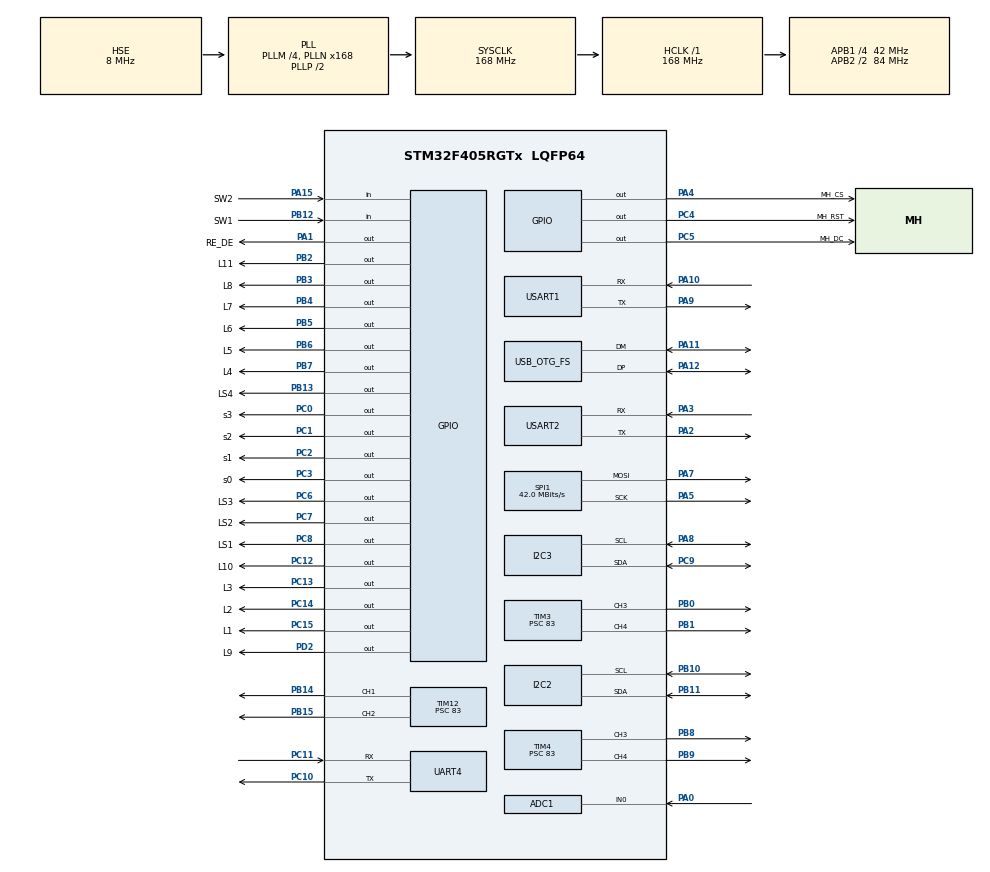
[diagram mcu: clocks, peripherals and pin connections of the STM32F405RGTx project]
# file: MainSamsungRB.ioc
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ADC1.Channel-0\#ChannelRegularConversion=ADC_CHANNEL_0
ADC1.NbrOfConversionFlag=1
ADC1.Rank-0\#ChannelRegularConversion=1
ADC1.SamplingTime-0\#ChannelRegularConversion=ADC_SAMPLETIME_84CYCLES
ADC1.master=1
Dma.ADC1.0.Direction=DMA_PERIPH_TO_MEMORY
Dma.ADC1.0.FIFOMode=DMA_FIFOMODE_DISABLE
Dma.ADC1.0.Instance=DMA2_Stream0
Dma.ADC1.0.MemDataAlignment=DMA_MDATAALIGN_HALFWORD
Dma.ADC1.0.MemInc=DMA_MINC_DISABLE
Dma.ADC1.0.Mode=DMA_NORMAL
Dma.ADC1.0.PeriphDataAlignment=DMA_PDATAALIGN_HALFWORD
Dma.ADC1.0.PeriphInc=DMA_PINC_DISABLE
Dma.ADC1.0.Priority=DMA_PRIORITY_VERY_HIGH
Dma.Request0=ADC1
Dma.Request1=UART4_RX
Dma.Request2=UART4_TX
Dma.Request3=USART2_RX
Dma.Request4=USART2_TX
Dma.UART4_RX.1.Direction=DMA_PERIPH_TO_MEMORY
Dma.UART4_RX.1.FIFOMode=DMA_FIFOMODE_DISABLE
Dma.UART4_RX.1.Instance=DMA1_Stream2
Dma.UART4_RX.1.MemDataAlignment=DMA_MDATAALIGN_BYTE
Dma.UART4_RX.1.MemInc=DMA_MINC_ENABLE
Dma.UART4_RX.1.Mode=DMA_CIRCULAR
Dma.UART4_RX.1.PeriphDataAlignment=DMA_PDATAALIGN_BYTE
Dma.UART4_RX.1.PeriphInc=DMA_PINC_DISABLE
Dma.UART4_RX.1.Priority=DMA_PRIORITY_MEDIUM
Dma.UART4_TX.2.Direction=DMA_MEMORY_TO_PERIPH
Dma.UART4_TX.2.FIFOMode=DMA_FIFOMODE_DISABLE
Dma.UART4_TX.2.Instance=DMA1_Stream4
Dma.UART4_TX.2.MemDataAlignment=DMA_MDATAALIGN_BYTE
Dma.UART4_TX.2.MemInc=DMA_MINC_ENABLE
Dma.UART4_TX.2.Mode=DMA_NORMAL
Dma.UART4_TX.2.PeriphDataAlignment=DMA_PDATAALIGN_BYTE
Dma.UART4_TX.2.PeriphInc=DMA_PINC_DISABLE
Dma.UART4_TX.2.Priority=DMA_PRIORITY_LOW
Dma.USART2_RX.3.Direction=DMA_PERIPH_TO_MEMORY
Dma.USART2_RX.3.FIFOMode=DMA_FIFOMODE_DISABLE
Dma.USART2_RX.3.Instance=DMA1_Stream5
Dma.USART2_RX.3.MemDataAlignment=DMA_MDATAALIGN_BYTE
Dma.USART2_RX.3.MemInc=DMA_MINC_ENABLE
Dma.USART2_RX.3.Mode=DMA_CIRCULAR
Dma.USART2_RX.3.PeriphDataAlignment=DMA_PDATAALIGN_BYTE
Dma.USART2_RX.3.PeriphInc=DMA_PINC_DISABLE
Dma.USART2_RX.3.Priority=DMA_PRIORITY_MEDIUM
Dma.USART2_TX.4.Direction=DMA_MEMORY_TO_PERIPH
Dma.USART2_TX.4.FIFOMode=DMA_FIFOMODE_DISABLE
Dma.USART2_TX.4.Instance=DMA1_Stream6
Dma.USART2_TX.4.MemDataAlignment=DMA_MDATAALIGN_BYTE
Dma.USART2_TX.4.MemInc=DMA_MINC_ENABLE
Dma.USART2_TX.4.Mode=DMA_NORMAL
Dma.USART2_TX.4.PeriphDataAlignment=DMA_PDATAALIGN_BYTE
Dma.USART2_TX.4.PeriphInc=DMA_PINC_DISABLE
Dma.USART2_TX.4.Priority=DMA_PRIORITY_LOW
Mcu.Family=STM32F4
Mcu.Name=STM32F405RGTx
Mcu.Package=LQFP64
NVIC.DMA2_Stream0_IRQn=true\:1\:0\:false\:false\:true\:false\:true\:true
NVIC.PriorityGroup=NVIC_PRIORITYGROUP_4
NVIC.DMA1_Stream2_IRQn=true\:3\:0\:false\:false\:true\:false\:true\:true
NVIC.DMA1_Stream4_IRQn=true\:3\:0\:false\:false\:true\:false\:true\:true
NVIC.DMA1_Stream5_IRQn=true\:1\:0\:false\:false\:true\:false\:true\:true
NVIC.DMA1_Stream6_IRQn=true\:1\:0\:false\:false\:true\:false\:true\:true
NVIC.TIM7_IRQn=true\:2\:0\:false\:false\:true\:true\:true\:true
NVIC.UART4_IRQn=true\:3\:0\:false\:false\:true\:false\:true\:true
NVIC.USART2_IRQn=true\:1\:0\:false\:false\:true\:false\:true\:true
PA0-WKUP.Signal=ADCx_IN0
PA1.GPIO_Label=RE_DE
PA1.GPIO_PuPd=GPIO_NOPULL
PA1.GPIO_Speed=GPIO_SPEED_FREQ_HIGH
PA1.PinState=GPIO_PIN_RESET
PA1.Signal=GPIO_Output
PA10.Mode=Asynchronous
PA10.Signal=USART1_RX
PA11.Mode=Device_Only
PA11.Signal=USB_OTG_FS_DM
PA12.Mode=Device_Only
PA12.Signal=USB_OTG_FS_DP
PA13.Mode=Serial_Wire
PA13.Signal=SYS_JTMS-SWDIO
PA14.Mode=Serial_Wire
PA14.Signal=SYS_JTCK-SWCLK
PA15.GPIO_Label=SW2
PA15.Signal=GPIO_Input
PA2.Mode=Asynchronous
PA2.Signal=USART2_TX
PA3.Mode=Asynchronous
PA3.Signal=USART2_RX
PA4.GPIO_Label=MH_CS
PA4.GPIO_Speed=GPIO_SPEED_FREQ_HIGH
PA4.PinState=GPIO_PIN_SET
PA4.Signal=GPIO_Output
PA5.Mode=TX_Only_Simplex_Unidirect_Master
PA5.Signal=SPI1_SCK
PA7.Mode=TX_Only_Simplex_Unidirect_Master
PA7.Signal=SPI1_MOSI
PA8.Mode=I2C
PA8.Signal=I2C3_SCL
PA9.Mode=Asynchronous
PA9.Signal=USART1_TX
PB0.Signal=S_TIM3_CH3
PB1.Signal=S_TIM3_CH4
PB10.Mode=I2C
PB10.Signal=I2C2_SCL
PB11.Mode=I2C
PB11.Signal=I2C2_SDA
PB12.GPIO_Label=SW1
PB12.Signal=GPIO_Input
PB13.GPIO_Label=LS4
PB13.PinState=GPIO_PIN_RESET
PB13.Signal=GPIO_Output
PB14.Signal=S_TIM12_CH1
PB15.Signal=S_TIM12_CH2
PB2.GPIO_Label=L11
PB2.PinState=GPIO_PIN_SET
PB2.Signal=GPIO_Output
PB3.GPIO_Label=L8
PB3.PinState=GPIO_PIN_SET
PB3.Signal=GPIO_Output
PB4.GPIO_Label=L7
PB4.PinState=GPIO_PIN_SET
PB4.Signal=GPIO_Output
PB5.GPIO_Label=L6
PB5.PinState=GPIO_PIN_SET
PB5.Signal=GPIO_Output
PB6.GPIO_Label=L5
PB6.PinState=GPIO_PIN_SET
PB6.Signal=GPIO_Output
PB7.GPIO_Label=L4
PB7.PinState=GPIO_PIN_SET
PB7.Signal=GPIO_Output
PB8.Signal=S_TIM4_CH3
PB9.Signal=S_TIM4_CH4
PC0.GPIO_Label=s3
PC0.GPIO_Speed=GPIO_SPEED_FREQ_VERY_HIGH
PC0.PinState=GPIO_PIN_RESET
PC0.Signal=GPIO_Output
PC1.GPIO_Label=s2
PC1.GPIO_Speed=GPIO_SPEED_FREQ_VERY_HIGH
PC1.PinState=GPIO_PIN_RESET
PC1.Signal=GPIO_Output
PC10.Mode=Asynchronous
PC10.Signal=UART4_TX
PC11.Mode=Asynchronous
PC11.Signal=UART4_RX
PC12.GPIO_Label=L10
PC12.PinState=GPIO_PIN_SET
PC12.Signal=GPIO_Output
PC13-ANTI_TAMP.GPIO_Label=L3
PC13-ANTI_TAMP.PinState=GPIO_PIN_SET
PC13-ANTI_TAMP.Signal=GPIO_Output
PC14-OSC32_IN.GPIO_Label=L2
PC14-OSC32_IN.PinState=GPIO_PIN_SET
PC14-OSC32_IN.Signal=GPIO_Output
PC15-OSC32_OUT.GPIO_Label=L1
PC15-OSC32_OUT.PinState=GPIO_PIN_SET
PC15-OSC32_OUT.Signal=GPIO_Output
PC2.GPIO_Label=s1
PC2.GPIO_Speed=GPIO_SPEED_FREQ_VERY_HIGH
PC2.PinState=GPIO_PIN_RESET
PC2.Signal=GPIO_Output
PC3.GPIO_Label=s0
PC3.GPIO_Speed=GPIO_SPEED_FREQ_VERY_HIGH
PC3.PinState=GPIO_PIN_RESET
PC3.Signal=GPIO_Output
PC4.GPIO_Label=MH_RST
PC4.GPIO_Speed=GPIO_SPEED_FREQ_LOW
PC4.PinState=GPIO_PIN_SET
PC4.Signal=GPIO_Output
PC5.GPIO_Label=MH_DC
PC5.GPIO_Speed=GPIO_SPEED_FREQ_HIGH
PC5.PinState=GPIO_PIN_RESET
PC5.Signal=GPIO_Output
PC6.GPIO_Label=LS3
PC6.PinState=GPIO_PIN_RESET
PC6.Signal=GPIO_Output
PC7.GPIO_Label=LS2
PC7.PinState=GPIO_PIN_RESET
PC7.Signal=GPIO_Output
PC8.GPIO_Label=LS1
PC8.PinState=GPIO_PIN_RESET
PC8.Signal=GPIO_Output
PC9.Mode=I2C
PC9.Signal=I2C3_SDA
PD2.GPIO_Label=L9
PD2.PinState=GPIO_PIN_SET
PD2.Signal=GPIO_Output
PH0-OSC_IN.Mode=HSE-External-Oscillator
PH0-OSC_IN.Signal=RCC_OSC_IN
PH1-OSC_OUT.Mode=HSE-External-Oscillator
PH1-OSC_OUT.Signal=RCC_OSC_OUT
ProjectManager.HeapSize=0x200
ProjectManager.StackSize=0x400
ProjectManager.TargetToolchain=STM32CubeIDE
RCC.48MHZClocksFreq_Value=48000000
RCC.AHBFreq_Value=168000000
RCC.APB1CLKDivider=RCC_HCLK_DIV4
RCC.APB1Freq_Value=42000000
RCC.APB1TimFreq_Value=84000000
RCC.APB2CLKDivider=RCC_HCLK_DIV2
RCC.APB2Freq_Value=84000000
RCC.APB2TimFreq_Value=168000000
RCC.CortexFreq_Value=168000000
RCC.HCLKFreq_Value=168000000
RCC.HSE_VALUE=8000000
RCC.HSI_VALUE=16000000
RCC.LSE_VALUE=32768
RCC.PLLM=4
RCC.PLLN=168
RCC.PLLQ=7
RCC.SYSCLKFreq_VALUE=168000000
RCC.SYSCLKSource=RCC_SYSCLKSOURCE_PLLCLK
RCC.VCOOutputFreq_Value=336000000
SH.ADCx_IN0.0=ADC1_IN0,IN0
SH.S_TIM12_CH1.0=TIM12_CH1,PWM Generation1 CH1
SH.S_TIM12_CH2.0=TIM12_CH2,PWM Generation2 CH2
SH.S_TIM3_CH3.0=TIM3_CH3,PWM Generation3 CH3
SH.S_TIM3_CH4.0=TIM3_CH4,PWM Generation4 CH4
SH.S_TIM4_CH3.0=TIM4_CH3,PWM Generation3 CH3
SH.S_TIM4_CH4.0=TIM4_CH4,PWM Generation4 CH4
SPI1.CalculateBaudRate=42.0 MBits/s
SPI1.Direction=SPI_DIRECTION_2LINES
SPI1.Mode=SPI_MODE_MASTER
SPI1.VirtualType=VM_MASTER
TIM12.Channel-PWM\ Generation1\ CH1=TIM_CHANNEL_1
TIM12.Channel-PWM\ Generation2\ CH2=TIM_CHANNEL_2
TIM12.AutoReloadPreload=TIM_AUTORELOAD_PRELOAD_ENABLE
TIM12.Period=19999
TIM12.Prescaler=83
TIM3.Channel-PWM\ Generation3\ CH3=TIM_CHANNEL_3
TIM3.Channel-PWM\ Generation4\ CH4=TIM_CHANNEL_4
TIM3.AutoReloadPreload=TIM_AUTORELOAD_PRELOAD_ENABLE
TIM3.Period=19999
TIM3.Prescaler=83
TIM4.Channel-PWM\ Generation3\ CH3=TIM_CHANNEL_3
TIM4.Channel-PWM\ Generation4\ CH4=TIM_CHANNEL_4
TIM4.AutoReloadPreload=TIM_AUTORELOAD_PRELOAD_ENABLE
TIM4.Period=19999
TIM4.Prescaler=83
TIM7.Period=99
TIM7.Prescaler=83
UART4.VirtualMode=Asynchronous
USART1.VirtualMode=VM_ASYNC
USART2.VirtualMode=VM_ASYNC
USB_OTG_FS.VirtualMode=Device_Only
VP_TIM7_VS_ClockSourceINT.Mode=Enable_Timer
board=custom

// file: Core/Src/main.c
/* USER CODE BEGIN Header */
/**
  ******************************************************************************
  * @file           : main.c
  * @brief          : Main program body
  ******************************************************************************
  * @attention
  *
  * Copyright (c) 2026 STMicroelectronics.
  * All rights reserved.
  *
  * This software is licensed under terms that can be found in the LICENSE file
  * in the root directory of this software component.
  * If no LICENSE file comes with this software, it is provided AS-IS.
  *
  ******************************************************************************
  */
/* USER CODE END Header */
#include "main.h"

/* USER CODE BEGIN Includes */
#include "cd4067.h"
#include "bno055.h"
#include "bno055_stm32.h"
#include "servo.h"
#include "buttons.h"
#include "rf_hc12.h"
#include "rs485_bus.h"
#include "drive_kinematics.h"
/* USER CODE END Includes */

/* USER CODE BEGIN PD */
#define RS485_TX_PERIOD_MS      10U
#define RS485_WHEEL_TIMEOUT_MS  250U
/* USER CODE END PD */

ADC_HandleTypeDef hadc1;
DMA_HandleTypeDef hdma_adc1;

I2C_HandleTypeDef hi2c2;
I2C_HandleTypeDef hi2c3;

SPI_HandleTypeDef hspi1;

TIM_HandleTypeDef htim3;
TIM_HandleTypeDef htim4;
TIM_HandleTypeDef htim7;
TIM_HandleTypeDef htim12;

UART_HandleTypeDef huart4;
UART_HandleTypeDef huart1;
UART_HandleTypeDef huart2;
DMA_HandleTypeDef hdma_uart4_rx;
DMA_HandleTypeDef hdma_uart4_tx;
DMA_HandleTypeDef hdma_usart2_rx;
DMA_HandleTypeDef hdma_usart2_tx;

PCD_HandleTypeDef hpcd_USB_OTG_FS;

/* USER CODE BEGIN PV */
BNO055_IMU_t g_imu = {0};
RF_HC12_t g_rf = {0};
RF_PayloadTdk_t g_tdk_cmd = {0};
bool g_tdk_link_ok = false;
RS485_Bus_t g_rs485 = {0};
RS485_Telem_t g_wheel_telem[DRIVE_OMNI_WHEEL_COUNT] = {0};
bool g_wheel_alive[DRIVE_OMNI_WHEEL_COUNT] = {false};
static uint32_t g_wheel_rx_ms[DRIVE_OMNI_WHEEL_COUNT] = {0};
static bool g_wheel_seen[DRIVE_OMNI_WHEEL_COUNT] = {false};
static uint8_t g_rs485_poll_idx = 0U;
static uint32_t g_last_rs485_tx_ms = 0U;
static Drive_OmniState_t g_omni_state = {0};
static bool g_field_centric = false;
static float g_yaw_offset_deg = 0.0f;
static uint8_t g_prev_start_btn = 0U;
static uint8_t g_prev_select_btn = 0U;
static bool g_estop_latched = false;
static bool g_clear_faults_pending = false;
static uint32_t g_last_imu_tick_ms = 0U;
static uint32_t g_last_auto_tx_ms = 0U;
/* USER CODE END PV */

void SystemClock_Config(void);
static void MX_GPIO_Init(void);
static void MX_DMA_Init(void);
static void MX_ADC1_Init(void);
static void MX_I2C2_Init(void);
static void MX_I2C3_Init(void);
static void MX_SPI1_Init(void);
static void MX_USART1_UART_Init(void);
static void MX_USART2_UART_Init(void);
static void MX_UART4_Init(void);
static void MX_USB_OTG_FS_PCD_Init(void);
static void MX_TIM3_Init(void);
static void MX_TIM12_Init(void);
static void MX_TIM4_Init(void);
static void MX_TIM7_Init(void);
/* USER CODE BEGIN PFP */
static void main_on_rs485_rx(RS485_Bus_t *bus, const RS485_Frame_t *frame, void *ctx);
/* USER CODE END PFP */

/* USER CODE BEGIN 0 */
static void main_on_rs485_rx(RS485_Bus_t *bus, const RS485_Frame_t *frame, void *ctx)
{
  (void)ctx;
  if ((bus == NULL) || (frame == NULL))
  {
    return;
  }

  if (frame->msg_type == (uint8_t)RS485_MSG_TELEM)
  {
    RS485_Telem_t telem;
    if (RS485_DecodeTelem(frame, &telem) &&
        (telem.node_id >= RS485_ADDR_SLAVE_MIN) &&
        (telem.node_id <= DRIVE_OMNI_WHEEL_COUNT))
    {
      uint8_t idx = (uint8_t)(telem.node_id - 1U);
      g_wheel_telem[idx] = telem;
      g_wheel_rx_ms[idx] = bus->last_rx_tick_ms;
      g_wheel_seen[idx] = true;
    }
  }
}

void MainSamsungRB_SetEstop(bool estop)
{
  g_estop_latched = estop;
  if (estop)
  {
    Drive_OmniReset(&g_omni_state);
    Servo_StopAll360();
  }
}

void MainSamsungRB_ClearWheelFaults(void)
{
  g_estop_latched = false;
  g_clear_faults_pending = true;
}
/* USER CODE END 0 */

int main(void)
{

  /* MCU Configuration--------------------------------------------------------*/

  /* Reset of all peripherals, Initializes the Flash interface and the Systick. */
  HAL_Init();

  /* Configure the system clock */
  SystemClock_Config();

  /* Initialize all configured peripherals */
  MX_GPIO_Init();
  MX_DMA_Init();
  MX_ADC1_Init();
  MX_I2C2_Init();
  MX_I2C3_Init();
  MX_SPI1_Init();
  MX_USART1_UART_Init();
  MX_USART2_UART_Init();
  MX_UART4_Init();
  MX_USB_OTG_FS_PCD_Init();
  MX_TIM3_Init();
  MX_TIM12_Init();
  MX_TIM4_Init();
  MX_TIM7_Init();
  /* USER CODE BEGIN 2 */
  /* Half-duplex RS-485 Master on USART2 + PA1 RE/DE for 4 omni PidBoards (IDs 1..4) */
  RS485_Init(&g_rs485, &huart2, RE_DE_GPIO_Port, RE_DE_Pin, RS485_ADDR_MASTER);
  RS485_SetRxCallback(&g_rs485, main_on_rs485_rx, NULL);
  if (RS485_StartRx(&g_rs485) != HAL_OK)
  {
    Error_Handler();
  }
  Drive_OmniReset(&g_omni_state);

  /* Scan all 16 limit switch channels on CD4067 (I0..I15) with Schmitt + 8 ms debounce */
  CD4067_Init(&hadc1, &htim7);
  if (CD4067_StartLimitSwitches(0xFFFFU) != HAL_OK)
  {
    Error_Handler();
  }

  /* Onboard switches SW1 (PB12) & SW2 (PA15): external +5V/+3V3 FT-safe inputs */
  Buttons_Init(true, true);

  /* Dual-mode servo driver across 6 PWM channels (CH1..3 = 0-270 deg, CH4..6 = 360 continuous) */
  if (Servo_Init(&htim3, &htim4, &htim12) != HAL_OK)
  {
    Error_Handler();
  }
  (void)Servo_Config270(SERVO_CH_1, SERVO_PWM_MIN_US, SERVO_PWM_MAX_US, false);
  (void)Servo_Config270(SERVO_CH_2, SERVO_PWM_MIN_US, SERVO_PWM_MAX_US, false);
  (void)Servo_Config270(SERVO_CH_3, SERVO_PWM_MIN_US, SERVO_PWM_MAX_US, false);
  (void)Servo_Config360(SERVO_CH_4, SERVO_PWM_NEUTRAL_US, SERVO_360_DEFAULT_HALF_SPAN_US,
                        SERVO_DEFAULT_DEADBAND_PCT, false);
  (void)Servo_Config360(SERVO_CH_5, SERVO_PWM_NEUTRAL_US, SERVO_360_DEFAULT_HALF_SPAN_US,
                        SERVO_DEFAULT_DEADBAND_PCT, false);
  (void)Servo_Config360(SERVO_CH_6, SERVO_PWM_NEUTRAL_US, SERVO_360_DEFAULT_HALF_SPAN_US,
                        SERVO_DEFAULT_DEADBAND_PCT, false);

  /* HC-12 RF link (Manual Robot = RF_NODE_MANUAL, accepts ONLY RF_NODE_TDK, relays to RF_NODE_AUTO) */
  RF_HC12_Init(&g_rf, &huart4, NULL, 0U, RF_NODE_MANUAL, RF_SRC_MASK(RF_NODE_TDK));
  (void)RF_HC12_SetupRoutine(&g_rf, RF_HC12_DEFAULT_CHANNEL, RF_HC12_DEFAULT_BAUD);
  if (RF_HC12_StartRx(&g_rf) != HAL_OK)
  {
    Error_Handler();
  }

  /* Wait for BNO055 POR (up to 750 ms) and start NDOF fusion on I2C3 (PA8/PC9) */
  BNO055_IMU_Init(&g_imu, &hi2c3);
  g_last_imu_tick_ms = HAL_GetTick();
  g_last_auto_tx_ms = g_last_imu_tick_ms;
  g_last_rs485_tx_ms = g_last_imu_tick_ms;
  /* USER CODE END 2 */

  /* Infinite loop */
  while (1)
  {

    /* USER CODE BEGIN 3 */
    uint32_t now_ms = HAL_GetTick();
    RF_Frame_t rx_frame;
    bool forward_now = false;

    /* 1. Drain UART4 circular DMA RX & enforce strict RF_NODE_TDK source filter */
    RF_HC12_ProcessRx(&g_rf, now_ms);
    if (RF_HC12_PopLatestFrame(&g_rf, &rx_frame))
    {
      if (RF_HC12_DecodeTdkCmd(&rx_frame, &g_tdk_cmd))
      {
        forward_now = true; /* Reply inside post-tdk ~15 ms quiet slot before tdk's next frame */
      }
    }

    g_tdk_link_ok = RF_HC12_IsLinkAlive(&g_rf, now_ms, RF_HC12_DEFAULT_TIMEOUT_MS);
    bool ps2_valid = g_tdk_link_ok && ((g_tdk_cmd.ext_sw & RF_TDK_PS2_VALID_BIT) != 0U);
    if (!g_tdk_link_ok)
    {
      Servo_StopAll360();
    }

    /* 2. Drain USART2 RS-485 DMA RX telemetry & run TX watchdog / wheel liveness */
    RS485_ProcessRx(&g_rs485, now_ms);
    RS485_TickMs(&g_rs485, now_ms);
    for (uint8_t i = 0U; i < DRIVE_OMNI_WHEEL_COUNT; i++)
    {
      g_wheel_alive[i] = g_wheel_seen[i] &&
                         ((uint32_t)(now_ms - g_wheel_rx_ms[i]) <= RS485_WHEEL_TIMEOUT_MS);
    }

    /* 3. Read debounced SW1 / SW2 and mirror limit switch mask onto L1..L11 */
    Buttons_Update(now_ms);
    if (Buttons_ConsumePressed(BTN_SW1))
    {
      BNO055_IMU_ZeroYaw(&g_imu);
      g_yaw_offset_deg = 0.0f;
      MainSamsungRB_ClearWheelFaults();
    }
    if (Buttons_ConsumePressed(BTN_SW2))
    {
      (void)CD4067_CycleLedViewMode();
    }
    CD4067_UpdateLeds(now_ms);

    /* PS2 Start toggles field-centric mode (when BNO055 online); Select clears PidBoard faults */
    if (ps2_valid)
    {
      uint8_t start_now  = ((g_tdk_cmd.ps2_btn[0] & 0x08U) != 0U) ? 1U : 0U;
      uint8_t select_now = ((g_tdk_cmd.ps2_btn[0] & 0x01U) != 0U) ? 1U : 0U;
      if ((start_now != 0U) && (g_prev_start_btn == 0U) && g_imu.connected)
      {
        g_field_centric = !g_field_centric;
        g_yaw_offset_deg = g_imu.yaw;
      }
      if ((select_now != 0U) && (g_prev_select_btn == 0U))
      {
        MainSamsungRB_ClearWheelFaults();
      }
      g_prev_start_btn  = start_now;
      g_prev_select_btn = select_now;
    }
    else
    {
      g_prev_start_btn  = 0U;
      g_prev_select_btn = 0U;
    }

    /* 4. 100 Hz (10 ms) 4-wheel omni kinematics & RS-485 TDMA command/poll broadcast */
    if ((uint32_t)(now_ms - g_last_rs485_tx_ms) >= RS485_TX_PERIOD_MS)
    {
      g_last_rs485_tx_ms = now_ms;

      Drive_Ps2Input_t ps2_in = {0};
      ps2_in.joy_sum[0] = g_tdk_cmd.joy_sum[0];
      ps2_in.joy_sum[1] = g_tdk_cmd.joy_sum[1];
      ps2_in.ps2_btn[0] = g_tdk_cmd.ps2_btn[0];
      ps2_in.ps2_btn[1] = g_tdk_cmd.ps2_btn[1];
      ps2_in.valid      = ps2_valid;

      uint8_t modes[DRIVE_OMNI_WHEEL_COUNT] = {0};
      int16_t targets[DRIVE_OMNI_WHEEL_COUNT] = {0};
      float yaw_rel = g_imu.connected ? (g_imu.yaw - g_yaw_offset_deg) : 0.0f;

      Drive_OmniComputeFromPs2(&g_omni_state,
                               &ps2_in,
                               g_estop_latched,
                               yaw_rel,
                               g_field_centric && g_imu.connected,
                               DRIVE_DEFAULT_MAX_RPMX10,
                               modes,
                               targets);

      RS485_MultiCmd_t mcmd = {0};
      mcmd.num_wheels = DRIVE_OMNI_WHEEL_COUNT;
      mcmd.poll_id    = (uint8_t)(g_rs485_poll_idx + 1U);
      g_rs485_poll_idx = (uint8_t)((g_rs485_poll_idx + 1U) % DRIVE_OMNI_WHEEL_COUNT);
      mcmd.flags      = (g_estop_latched ? RS485_CMD_FLAG_ESTOP : 0U) |
                        (g_clear_faults_pending ? RS485_CMD_FLAG_CLEAR_FAULTS : 0U);
      for (uint8_t i = 0U; i < DRIVE_OMNI_WHEEL_COUNT; i++)
      {
        mcmd.wheels[i].mode   = modes[i];
        mcmd.wheels[i].target = targets[i];
      }

      if (RS485_SendMultiCmd(&g_rs485, &mcmd, now_ms) == HAL_OK)
      {
        g_clear_faults_pending = false;
      }
    }

    /* 5. Forward state & limits to Autonomous Robot (MainRB2 = RF_NODE_AUTO) */
    if (forward_now || (!g_tdk_link_ok && ((uint32_t)(now_ms - g_last_auto_tx_ms) >= 50U)))
    {
      g_last_auto_tx_ms = now_ms;
      RF_PayloadManualToAuto_t auto_msg = {0};
      auto_msg.cmd        = g_tdk_cmd.ext_sw;
      auto_msg.mode       = (uint8_t)CD4067_GetLedViewMode();
      auto_msg.flags      = (g_tdk_link_ok ? RF_MANUAL_FLAG_TDK_LINK : 0U) |
                            (Buttons_IsPressed(BTN_SW1) ? RF_MANUAL_FLAG_SW1 : 0U) |
                            (Buttons_IsPressed(BTN_SW2) ? RF_MANUAL_FLAG_SW2 : 0U);
      auto_msg.reserved   = 0U;
      auto_msg.limit_mask = CD4067_GetLimitMask();
      auto_msg.arg0       = (int16_t)g_tdk_cmd.joy_left[0];
      auto_msg.arg1       = (int16_t)g_tdk_cmd.joy_left[1];
      auto_msg.arg2       = (int16_t)(((uint16_t)g_tdk_cmd.ps2_btn[1] << 8U) | g_tdk_cmd.ps2_btn[0]);
      auto_msg.arg3       = (int16_t)(g_imu.yaw * 10.0f);
      (void)RF_HC12_SendManualToAuto(&g_rf, RF_NODE_AUTO, &auto_msg);
    }

    /* 6. Poll BNO055 at 100 Hz (10 ms) */
    if ((uint32_t)(now_ms - g_last_imu_tick_ms) >= 10U)
    {
      g_last_imu_tick_ms = now_ms;
      if (g_imu.connected)
      {
        BNO055_IMU_Update(&g_imu);
      }
    }
  }
  /* USER CODE END 3 */
}

void SystemClock_Config(void)
{
  RCC_OscInitTypeDef RCC_OscInitStruct = {0};
  RCC_ClkInitTypeDef RCC_ClkInitStruct = {0};

  /** Configure the main internal regulator output voltage
  */
  __HAL_RCC_PWR_CLK_ENABLE();
  __HAL_PWR_VOLTAGESCALING_CONFIG(PWR_REGULATOR_VOLTAGE_SCALE1);

  /** Initializes the RCC Oscillators according to the specified parameters
  * in the RCC_OscInitTypeDef structure.
  */
  RCC_OscInitStruct.OscillatorType = RCC_OSCILLATORTYPE_HSE;
  RCC_OscInitStruct.HSEState = RCC_HSE_ON;
  RCC_OscInitStruct.PLL.PLLState = RCC_PLL_ON;
  RCC_OscInitStruct.PLL.PLLSource = RCC_PLLSOURCE_HSE;
  RCC_OscInitStruct.PLL.PLLM = 4;
  RCC_OscInitStruct.PLL.PLLN = 168;
  RCC_OscInitStruct.PLL.PLLP = RCC_PLLP_DIV2;
  RCC_OscInitStruct.PLL.PLLQ = 7;
  if (HAL_RCC_OscConfig(&RCC_OscInitStruct) != HAL_OK)
  {
    Error_Handler();
  }

  /** Initializes the CPU, AHB and APB buses clocks
  */
  RCC_ClkInitStruct.ClockType = RCC_CLOCKTYPE_HCLK|RCC_CLOCKTYPE_SYSCLK
                              |RCC_CLOCKTYPE_PCLK1|RCC_CLOCKTYPE_PCLK2;
  RCC_ClkInitStruct.SYSCLKSource = RCC_SYSCLKSOURCE_PLLCLK;
  RCC_ClkInitStruct.AHBCLKDivider = RCC_SYSCLK_DIV1;
  RCC_ClkInitStruct.APB1CLKDivider = RCC_HCLK_DIV4;
  RCC_ClkInitStruct.APB2CLKDivider = RCC_HCLK_DIV2;

  if (HAL_RCC_ClockConfig(&RCC_ClkInitStruct, FLASH_LATENCY_5) != HAL_OK)
  {
    Error_Handler();
  }
}

static void MX_ADC1_Init(void)
{

  ADC_ChannelConfTypeDef sConfig = {0};

  /** Configure the global features of the ADC (Clock, Resolution, Data Alignment and number of conversion)
  */
  hadc1.Instance = ADC1;
  hadc1.Init.ClockPrescaler = ADC_CLOCK_SYNC_PCLK_DIV4;
  hadc1.Init.Resolution = ADC_RESOLUTION_12B;
  hadc1.Init.ScanConvMode = DISABLE;
  hadc1.Init.ContinuousConvMode = DISABLE;
  hadc1.Init.DiscontinuousConvMode = DISABLE;
  hadc1.Init.ExternalTrigConvEdge = ADC_EXTERNALTRIGCONVEDGE_NONE;
  hadc1.Init.ExternalTrigConv = ADC_SOFTWARE_START;
  hadc1.Init.DataAlign = ADC_DATAALIGN_RIGHT;
  hadc1.Init.NbrOfConversion = 1;
  hadc1.Init.DMAContinuousRequests = DISABLE;
  hadc1.Init.EOCSelection = ADC_EOC_SINGLE_CONV;
  if (HAL_ADC_Init(&hadc1) != HAL_OK)
  {
    Error_Handler();
  }

  /** Configure for the selected ADC regular channel its corresponding rank in the sequencer and its sample time.
  */
  sConfig.Channel = ADC_CHANNEL_0;
  sConfig.Rank = 1;
  sConfig.SamplingTime = ADC_SAMPLETIME_84CYCLES;
  if (HAL_ADC_ConfigChannel(&hadc1, &sConfig) != HAL_OK)
  {
    Error_Handler();
  }

}

static void MX_I2C2_Init(void)
{

  hi2c2.Instance = I2C2;
  hi2c2.Init.ClockSpeed = 100000;
  hi2c2.Init.DutyCycle = I2C_DUTYCYCLE_2;
  hi2c2.Init.OwnAddress1 = 0;
  hi2c2.Init.AddressingMode = I2C_ADDRESSINGMODE_7BIT;
  hi2c2.Init.DualAddressMode = I2C_DUALADDRESS_DISABLE;
  hi2c2.Init.OwnAddress2 = 0;
  hi2c2.Init.GeneralCallMode = I2C_GENERALCALL_DISABLE;
  hi2c2.Init.NoStretchMode = I2C_NOSTRETCH_DISABLE;
  if (HAL_I2C_Init(&hi2c2) != HAL_OK)
  {
    Error_Handler();
  }

}

static void MX_I2C3_Init(void)
{

  hi2c3.Instance = I2C3;
  hi2c3.Init.ClockSpeed = 100000;
  hi2c3.Init.DutyCycle = I2C_DUTYCYCLE_2;
  hi2c3.Init.OwnAddress1 = 0;
  hi2c3.Init.AddressingMode = I2C_ADDRESSINGMODE_7BIT;
  hi2c3.Init.DualAddressMode = I2C_DUALADDRESS_DISABLE;
  hi2c3.Init.OwnAddress2 = 0;
  hi2c3.Init.GeneralCallMode = I2C_GENERALCALL_DISABLE;
  hi2c3.Init.NoStretchMode = I2C_NOSTRETCH_DISABLE;
  if (HAL_I2C_Init(&hi2c3) != HAL_OK)
  {
    Error_Handler();
  }

}

static void MX_SPI1_Init(void)
{

  /* SPI1 parameter configuration*/
  hspi1.Instance = SPI1;
  hspi1.Init.Mode = SPI_MODE_MASTER;
  hspi1.Init.Direction = SPI_DIRECTION_2LINES;
  hspi1.Init.DataSize = SPI_DATASIZE_8BIT;
  hspi1.Init.CLKPolarity = SPI_POLARITY_LOW;
  hspi1.Init.CLKPhase = SPI_PHASE_1EDGE;
  hspi1.Init.NSS = SPI_NSS_SOFT;
  hspi1.Init.BaudRatePrescaler = SPI_BAUDRATEPRESCALER_2;
  hspi1.Init.FirstBit = SPI_FIRSTBIT_MSB;
  hspi1.Init.TIMode = SPI_TIMODE_DISABLE;
  hspi1.Init.CRCCalculation = SPI_CRCCALCULATION_DISABLE;
  hspi1.Init.CRCPolynomial = 10;
  if (HAL_SPI_Init(&hspi1) != HAL_OK)
  {
    Error_Handler();
  }

}

static void MX_TIM3_Init(void)
{

  TIM_MasterConfigTypeDef sMasterConfig = {0};
  TIM_OC_InitTypeDef sConfigOC = {0};

  htim3.Instance = TIM3;
  htim3.Init.Prescaler = 83;
  htim3.Init.CounterMode = TIM_COUNTERMODE_UP;
  htim3.Init.Period = 19999;
  htim3.Init.ClockDivision = TIM_CLOCKDIVISION_DIV1;
  htim3.Init.AutoReloadPreload = TIM_AUTORELOAD_PRELOAD_ENABLE;
  if (HAL_TIM_PWM_Init(&htim3) != HAL_OK)
  {
    Error_Handler();
  }
  sMasterConfig.MasterOutputTrigger = TIM_TRGO_RESET;
  sMasterConfig.MasterSlaveMode = TIM_MASTERSLAVEMODE_DISABLE;
  if (HAL_TIMEx_MasterConfigSynchronization(&htim3, &sMasterConfig) != HAL_OK)
  {
    Error_Handler();
  }
  sConfigOC.OCMode = TIM_OCMODE_PWM1;
  sConfigOC.Pulse = 0;
  sConfigOC.OCPolarity = TIM_OCPOLARITY_HIGH;
  sConfigOC.OCFastMode = TIM_OCFAST_DISABLE;
  if (HAL_TIM_PWM_ConfigChannel(&htim3, &sConfigOC, TIM_CHANNEL_3) != HAL_OK)
  {
    Error_Handler();
  }
  if (HAL_TIM_PWM_ConfigChannel(&htim3, &sConfigOC, TIM_CHANNEL_4) != HAL_OK)
  {
    Error_Handler();
  }
  HAL_TIM_MspPostInit(&htim3);

}

static void MX_TIM4_Init(void)
{

  TIM_MasterConfigTypeDef sMasterConfig = {0};
  TIM_OC_InitTypeDef sConfigOC = {0};

  htim4.Instance = TIM4;
  htim4.Init.Prescaler = 83;
  htim4.Init.CounterMode = TIM_COUNTERMODE_UP;
  htim4.Init.Period = 19999;
  htim4.Init.ClockDivision = TIM_CLOCKDIVISION_DIV1;
  htim4.Init.AutoReloadPreload = TIM_AUTORELOAD_PRELOAD_ENABLE;
  if (HAL_TIM_PWM_Init(&htim4) != HAL_OK)
  {
    Error_Handler();
  }
  sMasterConfig.MasterOutputTrigger = TIM_TRGO_RESET;
  sMasterConfig.MasterSlaveMode = TIM_MASTERSLAVEMODE_DISABLE;
  if (HAL_TIMEx_MasterConfigSynchronization(&htim4, &sMasterConfig) != HAL_OK)
  {
    Error_Handler();
  }
  sConfigOC.OCMode = TIM_OCMODE_PWM1;
  sConfigOC.Pulse = 0;
  sConfigOC.OCPolarity = TIM_OCPOLARITY_HIGH;
  sConfigOC.OCFastMode = TIM_OCFAST_DISABLE;
  if (HAL_TIM_PWM_ConfigChannel(&htim4, &sConfigOC, TIM_CHANNEL_3) != HAL_OK)
  {
    Error_Handler();
  }
  if (HAL_TIM_PWM_ConfigChannel(&htim4, &sConfigOC, TIM_CHANNEL_4) != HAL_OK)
  {
    Error_Handler();
  }
  HAL_TIM_MspPostInit(&htim4);

}

static void MX_TIM7_Init(void)
{

  TIM_MasterConfigTypeDef sMasterConfig = {0};

  htim7.Instance = TIM7;
  htim7.Init.Prescaler = 83;
  htim7.Init.CounterMode = TIM_COUNTERMODE_UP;
  htim7.Init.Period = 99;
  htim7.Init.AutoReloadPreload = TIM_AUTORELOAD_PRELOAD_DISABLE;
  if (HAL_TIM_Base_Init(&htim7) != HAL_OK)
  {
    Error_Handler();
  }
  sMasterConfig.MasterOutputTrigger = TIM_TRGO_RESET;
  sMasterConfig.MasterSlaveMode = TIM_MASTERSLAVEMODE_DISABLE;
  if (HAL_TIMEx_MasterConfigSynchronization(&htim7, &sMasterConfig) != HAL_OK)
  {
    Error_Handler();
  }

}

static void MX_TIM12_Init(void)
{

  TIM_OC_InitTypeDef sConfigOC = {0};

  htim12.Instance = TIM12;
  htim12.Init.Prescaler = 83;
  htim12.Init.CounterMode = TIM_COUNTERMODE_UP;
  htim12.Init.Period = 19999;
  htim12.Init.ClockDivision = TIM_CLOCKDIVISION_DIV1;
  htim12.Init.AutoReloadPreload = TIM_AUTORELOAD_PRELOAD_ENABLE;
  if (HAL_TIM_PWM_Init(&htim12) != HAL_OK)
  {
    Error_Handler();
  }
  sConfigOC.OCMode = TIM_OCMODE_PWM1;
  sConfigOC.Pulse = 0;
  sConfigOC.OCPolarity = TIM_OCPOLARITY_HIGH;
  sConfigOC.OCFastMode = TIM_OCFAST_DISABLE;
  if (HAL_TIM_PWM_ConfigChannel(&htim12, &sConfigOC, TIM_CHANNEL_1) != HAL_OK)
  {
    Error_Handler();
  }
  if (HAL_TIM_PWM_ConfigChannel(&htim12, &sConfigOC, TIM_CHANNEL_2) != HAL_OK)
  {
    Error_Handler();
  }
  HAL_TIM_MspPostInit(&htim12);

}

static void MX_UART4_Init(void)
{

  huart4.Instance = UART4;
  huart4.Init.BaudRate = 115200;
  huart4.Init.WordLength = UART_WORDLENGTH_8B;
  huart4.Init.StopBits = UART_STOPBITS_1;
  huart4.Init.Parity = UART_PARITY_NONE;
  huart4.Init.Mode = UART_MODE_TX_RX;
  huart4.Init.HwFlowCtl = UART_HWCONTROL_NONE;
  huart4.Init.OverSampling = UART_OVERSAMPLING_16;
  if (HAL_UART_Init(&huart4) != HAL_OK)
  {
    Error_Handler();
  }

}

static void MX_USART1_UART_Init(void)
{

  huart1.Instance = USART1;
  huart1.Init.BaudRate = 115200;
  huart1.Init.WordLength = UART_WORDLENGTH_8B;
  huart1.Init.StopBits = UART_STOPBITS_1;
  huart1.Init.Parity = UART_PARITY_NONE;
  huart1.Init.Mode = UART_MODE_TX_RX;
  huart1.Init.HwFlowCtl = UART_HWCONTROL_NONE;
  huart1.Init.OverSampling = UART_OVERSAMPLING_16;
  if (HAL_UART_Init(&huart1) != HAL_OK)
  {
    Error_Handler();
  }

}

static void MX_USART2_UART_Init(void)
{

  huart2.Instance = USART2;
  huart2.Init.BaudRate = 115200;
  huart2.Init.WordLength = UART_WORDLENGTH_8B;
  huart2.Init.StopBits = UART_STOPBITS_1;
  huart2.Init.Parity = UART_PARITY_NONE;
  huart2.Init.Mode = UART_MODE_TX_RX;
  huart2.Init.HwFlowCtl = UART_HWCONTROL_NONE;
  huart2.Init.OverSampling = UART_OVERSAMPLING_16;
  if (HAL_UART_Init(&huart2) != HAL_OK)
  {
    Error_Handler();
  }

}

static void MX_USB_OTG_FS_PCD_Init(void)
{

  hpcd_USB_OTG_FS.Instance = USB_OTG_FS;
  hpcd_USB_OTG_FS.Init.dev_endpoints = 4;
  hpcd_USB_OTG_FS.Init.speed = PCD_SPEED_FULL;
  hpcd_USB_OTG_FS.Init.dma_enable = DISABLE;
  hpcd_USB_OTG_FS.Init.phy_itface = PCD_PHY_EMBEDDED;
  hpcd_USB_OTG_FS.Init.Sof_enable = DISABLE;
  hpcd_USB_OTG_FS.Init.low_power_enable = DISABLE;
  hpcd_USB_OTG_FS.Init.lpm_enable = DISABLE;
  hpcd_USB_OTG_FS.Init.vbus_sensing_enable = DISABLE;
  hpcd_USB_OTG_FS.Init.use_dedicated_ep1 = DISABLE;
  if (HAL_PCD_Init(&hpcd_USB_OTG_FS) != HAL_OK)
  {
    Error_Handler();
  }

}

static void MX_DMA_Init(void)
{

  /* DMA controller clock enable */
  __HAL_RCC_DMA2_CLK_ENABLE();
  __HAL_RCC_DMA1_CLK_ENABLE();

  /* DMA interrupt init */
  /* DMA1_Stream2_IRQn interrupt configuration */
  HAL_NVIC_SetPriority(DMA1_Stream2_IRQn, 3, 0);
  HAL_NVIC_EnableIRQ(DMA1_Stream2_IRQn);
  /* DMA1_Stream4_IRQn interrupt configuration */
  HAL_NVIC_SetPriority(DMA1_Stream4_IRQn, 3, 0);
  HAL_NVIC_EnableIRQ(DMA1_Stream4_IRQn);
  /* DMA1_Stream5_IRQn interrupt configuration */
  HAL_NVIC_SetPriority(DMA1_Stream5_IRQn, 1, 0);
  HAL_NVIC_EnableIRQ(DMA1_Stream5_IRQn);
  /* DMA1_Stream6_IRQn interrupt configuration */
  HAL_NVIC_SetPriority(DMA1_Stream6_IRQn, 1, 0);
  HAL_NVIC_EnableIRQ(DMA1_Stream6_IRQn);
  /* DMA2_Stream0_IRQn interrupt configuration */
  HAL_NVIC_SetPriority(DMA2_Stream0_IRQn, 1, 0);
  HAL_NVIC_EnableIRQ(DMA2_Stream0_IRQn);

}

static void MX_GPIO_Init(void)
{
  GPIO_InitTypeDef GPIO_InitStruct = {0};

  /* GPIO Ports Clock Enable */
  __HAL_RCC_GPIOC_CLK_ENABLE();
  __HAL_RCC_GPIOH_CLK_ENABLE();
  __HAL_RCC_GPIOA_CLK_ENABLE();
  __HAL_RCC_GPIOB_CLK_ENABLE();
  __HAL_RCC_GPIOD_CLK_ENABLE();

  /*Configure GPIO pin Output Level */
  HAL_GPIO_WritePin(GPIOC, L3_Pin|L2_Pin|L1_Pin|MH_RST_Pin
                          |L10_Pin, GPIO_PIN_SET);

  /*Configure GPIO pin Output Level */
  HAL_GPIO_WritePin(GPIOC, s3_Pin|s2_Pin|s1_Pin|s0_Pin
                          |MH_DC_Pin|LS3_Pin|LS2_Pin|LS1_Pin, GPIO_PIN_RESET);

  /*Configure GPIO pin Output Level */
  HAL_GPIO_WritePin(RE_DE_GPIO_Port, RE_DE_Pin, GPIO_PIN_RESET);

  /*Configure GPIO pin Output Level */
  HAL_GPIO_WritePin(MH_CS_GPIO_Port, MH_CS_Pin, GPIO_PIN_SET);

  /*Configure GPIO pin Output Level */
  HAL_GPIO_WritePin(GPIOB, L11_Pin|L8_Pin|L7_Pin|L6_Pin
                          |L5_Pin|L4_Pin, GPIO_PIN_SET);

  /*Configure GPIO pin Output Level */
  HAL_GPIO_WritePin(LS4_GPIO_Port, LS4_Pin, GPIO_PIN_RESET);

  /*Configure GPIO pin Output Level */
  HAL_GPIO_WritePin(L9_GPIO_Port, L9_Pin, GPIO_PIN_SET);

  /*Configure GPIO pins : L3_Pin L2_Pin L1_Pin MH_RST_Pin
                           LS3_Pin LS2_Pin LS1_Pin L10_Pin */
  GPIO_InitStruct.Pin = L3_Pin|L2_Pin|L1_Pin|MH_RST_Pin
                          |LS3_Pin|LS2_Pin|LS1_Pin|L10_Pin;
  GPIO_InitStruct.Mode = GPIO_MODE_OUTPUT_PP;
  GPIO_InitStruct.Pull = GPIO_NOPULL;
  GPIO_InitStruct.Speed = GPIO_SPEED_FREQ_LOW;
  HAL_GPIO_Init(GPIOC, &GPIO_InitStruct);

  /*Configure GPIO pins : s3_Pin s2_Pin s1_Pin s0_Pin */
  GPIO_InitStruct.Pin = s3_Pin|s2_Pin|s1_Pin|s0_Pin;
  GPIO_InitStruct.Mode = GPIO_MODE_OUTPUT_PP;
  GPIO_InitStruct.Pull = GPIO_NOPULL;
  GPIO_InitStruct.Speed = GPIO_SPEED_FREQ_VERY_HIGH;
  HAL_GPIO_Init(GPIOC, &GPIO_InitStruct);

  /*Configure GPIO pins : RE_DE_Pin MH_CS_Pin */
  GPIO_InitStruct.Pin = RE_DE_Pin|MH_CS_Pin;
  GPIO_InitStruct.Mode = GPIO_MODE_OUTPUT_PP;
  GPIO_InitStruct.Pull = GPIO_NOPULL;
  GPIO_InitStruct.Speed = GPIO_SPEED_FREQ_HIGH;
  HAL_GPIO_Init(GPIOA, &GPIO_InitStruct);

  /*Configure GPIO pin : MH_DC_Pin */
  GPIO_InitStruct.Pin = MH_DC_Pin;
  GPIO_InitStruct.Mode = GPIO_MODE_OUTPUT_PP;
  GPIO_InitStruct.Pull = GPIO_NOPULL;
  GPIO_InitStruct.Speed = GPIO_SPEED_FREQ_HIGH;
  HAL_GPIO_Init(MH_DC_GPIO_Port, &GPIO_InitStruct);

  /*Configure GPIO pins : L11_Pin LS4_Pin L8_Pin L7_Pin
                           L6_Pin L5_Pin L4_Pin */
  GPIO_InitStruct.Pin = L11_Pin|LS4_Pin|L8_Pin|L7_Pin
                          |L6_Pin|L5_Pin|L4_Pin;
  GPIO_InitStruct.Mode = GPIO_MODE_OUTPUT_PP;
  GPIO_InitStruct.Pull = GPIO_NOPULL;
  GPIO_InitStruct.Speed = GPIO_SPEED_FREQ_LOW;
  HAL_GPIO_Init(GPIOB, &GPIO_InitStruct);

  /*Configure GPIO pin : SW1_Pin */
  GPIO_InitStruct.Pin = SW1_Pin;
  GPIO_InitStruct.Mode = GPIO_MODE_INPUT;
  GPIO_InitStruct.Pull = GPIO_NOPULL;
  HAL_GPIO_Init(SW1_GPIO_Port, &GPIO_InitStruct);

  /*Configure GPIO pin : SW2_Pin */
  GPIO_InitStruct.Pin = SW2_Pin;
  GPIO_InitStruct.Mode = GPIO_MODE_INPUT;
  GPIO_InitStruct.Pull = GPIO_NOPULL;
  HAL_GPIO_Init(SW2_GPIO_Port, &GPIO_InitStruct);

  /*Configure GPIO pin : L9_Pin */
  GPIO_InitStruct.Pin = L9_Pin;
  GPIO_InitStruct.Mode = GPIO_MODE_OUTPUT_PP;
  GPIO_InitStruct.Pull = GPIO_NOPULL;
  GPIO_InitStruct.Speed = GPIO_SPEED_FREQ_LOW;
  HAL_GPIO_Init(L9_GPIO_Port, &GPIO_InitStruct);

}

/* USER CODE BEGIN 4 */
void HAL_TIM_PeriodElapsedCallback(TIM_HandleTypeDef *htim)
{
  CD4067_TIM_PeriodElapsedCallback(htim);
}

void HAL_ADC_ConvCpltCallback(ADC_HandleTypeDef *hadc)
{
  CD4067_ADC_ConvCpltCallback(hadc);
}

void HAL_UART_TxCpltCallback(UART_HandleTypeDef *huart)
{
  RS485_TxCpltCallback(&g_rs485, huart);
}

void HAL_UART_ErrorCallback(UART_HandleTypeDef *huart)
{
  RF_HC12_UartErrorCallback(&g_rf, huart);
  RS485_UartErrorCallback(&g_rs485, huart);
}
/* USER CODE END 4 */

void Error_Handler(void)
{
  __disable_irq();
  while (1)
  {
  }
}
